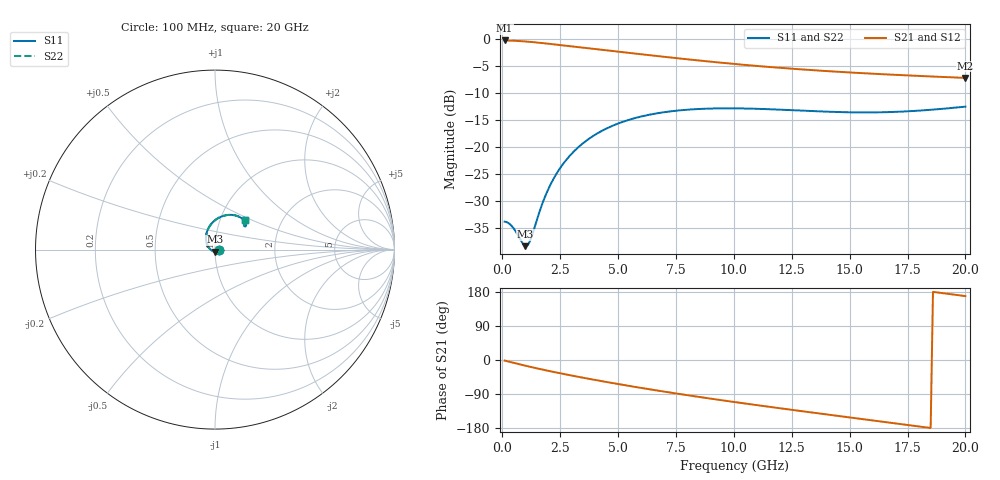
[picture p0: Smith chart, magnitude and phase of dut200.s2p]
! Created with skrf 1.9.0 (http://scikit-rf.org).
# GHz S RI R 50.0
!freq ReS11 ImS11 ReS21 ImS21 ReS12 ImS12 ReS22 ImS22
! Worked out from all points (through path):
!   200 points, 100 MHz to 20 GHz, reference 50 ohm
!   highest |S21| = -0.18 dB at 100 MHz (marker M1); lowest = -7.1 dB at 20 GHz (marker M2)
!   group delay of S21, straight-line fit = 25.4 ps
!   lowest |S11| = -38.3 dB at 1 GHz (marker M3), VSWR 1.02, Z = 49.8 - j1.2 ohm
!   |S11| at or under -10 dB: start of sweep to end of sweep
!   |S22| runs from -38.3 to -12.5 dB; largest |S21 - S12| = 2.7e-15
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0.1  0.0203 -0.00206  0.9788 -0.0265  0.9788 -0.0265  0.0203 -0.00206
0.4  0.0169 -0.00793  0.9698 -0.1046  0.9698 -0.1046  0.0169 -0.00793
0.9  0.00238 -0.0124  0.9348 -0.2266  0.9348 -0.2266  0.00238 -0.0124
1  -0.00138 -0.012  0.9252 -0.2494  0.9252 -0.2494  -0.00138 -0.012
1.1  -0.00529 -0.0112  0.9149 -0.2714  0.9149 -0.2714  -0.00529 -0.0112
1.2  -0.00929 -0.00986  0.904 -0.2928  0.904 -0.2928  -0.00929 -0.00986
1.8  -0.032 0.00745  0.8281 -0.4068  0.8281 -0.4068  -0.032 0.00745
2.2  -0.043 0.0261  0.771 -0.4695  0.771 -0.4695  -0.043 0.0261
2.8  -0.0503 0.0598  0.6807 -0.5461  0.6807 -0.5461  -0.0503 0.0598
3.5  -0.0444 0.1002  0.5727 -0.6127  0.5727 -0.6127  -0.0444 0.1002
4.2  -0.0264 0.1356  0.465 -0.6586  0.465 -0.6586  -0.0264 0.1356
4.9  -0.000769 0.1628  0.3599 -0.6866  0.3599 -0.6866  -0.000769 0.1628
5.8  0.0369 0.1846  0.2317 -0.6999  0.2317 -0.6999  0.0369 0.1846
6.8  0.0778 0.1935  0.1017 -0.6902  0.1017 -0.6902  0.0778 0.1935
8.4  0.1297 0.1851  -0.0739 -0.6368  -0.0739 -0.6368  0.1297 0.1851
10.1  0.1613 0.1634  -0.2171 -0.5492  -0.2171 -0.5492  0.1613 0.1634
11.7  0.1725 0.1439  -0.3164 -0.4523  -0.3164 -0.4523  0.1725 0.1439
13.4  0.1721 0.1314  -0.3906 -0.3421  -0.3906 -0.3421  0.1721 0.1314
15  0.1668 0.1294  -0.4348 -0.2353  -0.4348 -0.2353  0.1668 0.1294
16.7  0.1619 0.1369  -0.457 -0.1215  -0.457 -0.1215  0.1619 0.1369
18.3  0.162 0.1503  -0.4555 -0.0172  -0.4555 -0.0172  0.162 0.1503
20  0.1696 0.1671  -0.4314 0.0869  -0.4314 0.0869  0.1696 0.1671
